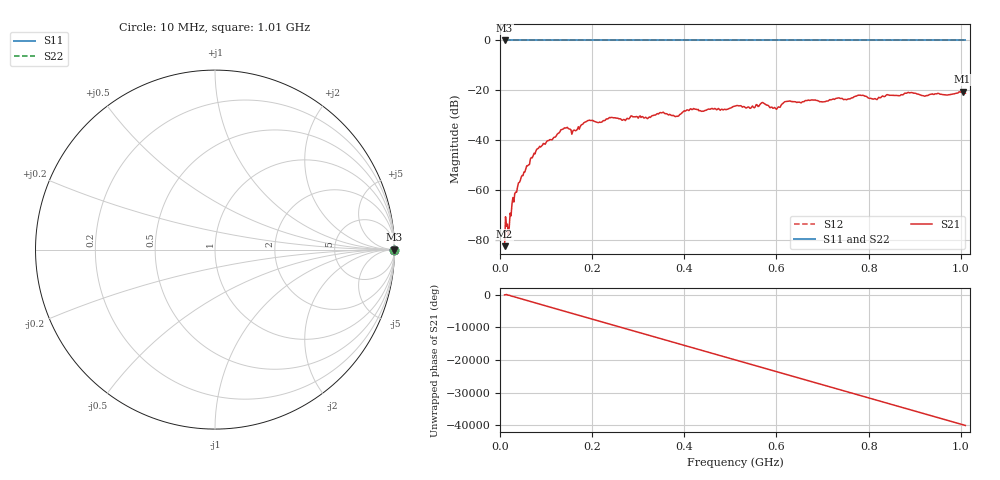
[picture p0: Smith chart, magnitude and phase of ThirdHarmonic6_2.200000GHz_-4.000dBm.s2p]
! 8/17/2025 2:13:09 AM
! C:\ANRITSUVNA\TEMP\TEMP.S2P
! CHANNEL.1
! TR.MEASUREMENT
! RAW.DATA
! RF.CORRECTION.OFF
! AVERAGING.OFF
! IF.BANDWIDTH: 5KHZ
! SWEEPTYPE:  FREQ.SWEEP(Linear)
! Reference Plane Port Info
! PORT:  PORT1  PORT2
! DISTANCE:  0  m  0  m
! TIME:  0  s  0  s
! PHASE.OFFSET:  0  deg.  0  deg.
! LOSS:  0  dB  0  dB
! REF.LOSS:  0  dB  0  dB
! REF.FREQ:  0  Hz  0  Hz
! Power Info
! POWER:  -20  dBm  -20  dBm
! EFF.POWER:  -20  dBm  -20  dBm
! SOURCE.ATTEN:  0  dB  0  dB
! TEST.ATTEN:  0  dB  0  dB
# GHZ S RI R 50.0
! FREQ.GHZ  S11RE  S11IM  S21RE  S21IM  S12RE  S12IM  S22RE  S22IM
!; PortSelection: Port_12
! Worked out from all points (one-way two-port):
!   501 points, 10 MHz to 1.01 GHz, reference 50 ohm
!   highest |S21| = -20.51 dB at 1.004 GHz (marker M1); lowest = -82.6 dB at 10 MHz (marker M2)
!   lowest |S11| = 0.0 dB at 10 MHz (marker M3)
!   |S11| at or under -10 dB: nowhere
!   |S22| runs from 0.0 to 0.0 dB; largest |S21 - S12| = 1.1
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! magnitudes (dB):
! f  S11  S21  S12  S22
! 10 MHz  0.0  -82.6  0.0  0.0
! 20 MHz  0.0  -75.1  0.0  0.0
! 30 MHz  0.0  -64.9  0.0  0.0
! 42 MHz  0.0  -57.0  0.0  0.0
! 82 MHz  0.0  -43.5  0.0  0.0
! 136 MHz  0.0  -35.6  0.0  0.0
! 160 MHz  0.0  -36.0  0.0  0.0
! 178 MHz  0.0  -33.8  0.0  0.0
! 194 MHz  0.0  -32.0  0.0  0.0
! 344 MHz  0.0  -29.5  0.0  0.0
! 384 MHz  0.0  -30.4  0.0  0.0
! 416 MHz  0.0  -27.7  0.0  0.0
! 510 MHz  0.0  -26.4  0.0  0.0
! 570 MHz  0.0  -24.9  0.0  0.0
! 598 MHz  0.0  -27.3  0.0  0.0
! 622 MHz  0.0  -24.5  0.0  0.0
! 678 MHz  0.0  -23.9  0.0  0.0
! 782 MHz  0.0  -22.0  0.0  0.0
! 814 MHz  0.0  -23.3  0.0  0.0
! 844 MHz  0.0  -21.9  0.0  0.0
! 1.004 GHz  0.0  -20.5  0.0  0.0
! 1.01 GHz  0.0  -21.2  0.0  0.0
